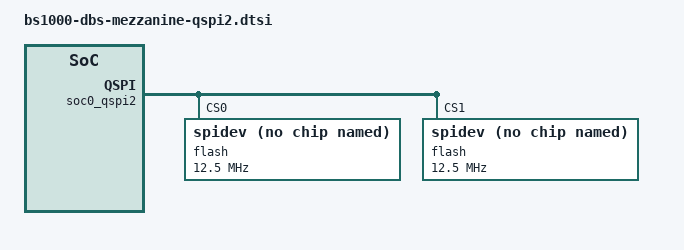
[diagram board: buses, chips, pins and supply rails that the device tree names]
// SPDX-License-Identifier: GPL-2.0
/*
 * Device tree include file for DBS socket X11.16 mezzanine board
 * Copyright (C) 2023-2025 Baikal Electronics, JSC
 */

&soc0_qspi2 {
	status = "okay";

	flash@0 {
		compatible = "rohm,dh2228fv";
		reg = <0>;
		#address-cells = <1>;
		#size-cells = <1>;
		spi-max-frequency = <12500000>;
		spi-tx-bus-width = <1>;
		spi-rx-bus-width = <1>;
		status = "okay";
	};

	flash@1 {
		compatible = "rohm,dh2228fv";
		reg = <1>;
		#address-cells = <1>;
		#size-cells = <1>;
		spi-max-frequency = <12500000>;
		spi-tx-bus-width = <1>;
		spi-rx-bus-width = <1>;
		status = "okay";
	};
};
